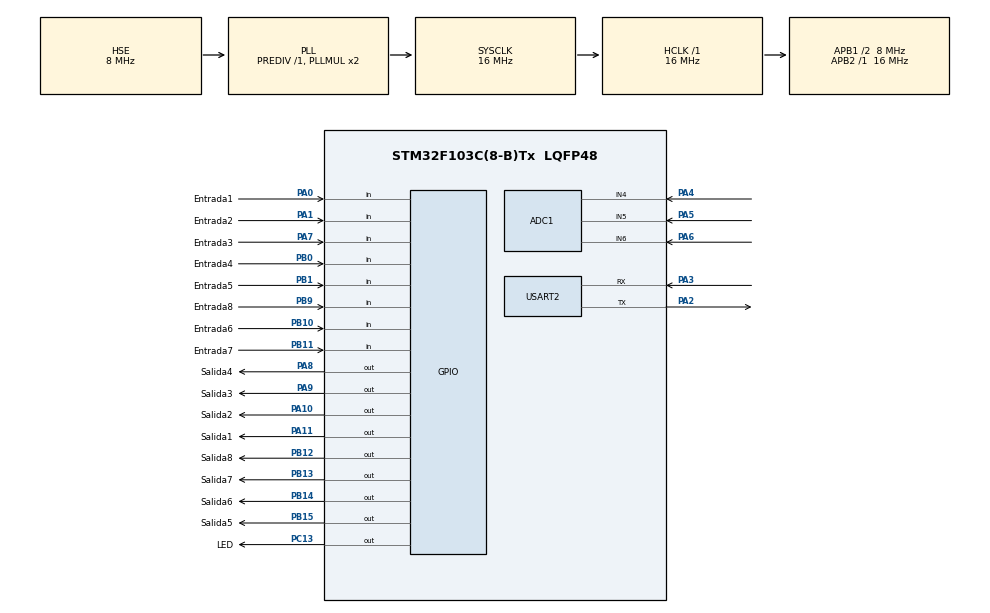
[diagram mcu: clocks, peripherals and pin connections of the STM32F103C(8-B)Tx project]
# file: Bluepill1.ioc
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ADC1.Channel-3\#ChannelRegularConversion=ADC_CHANNEL_4
ADC1.Channel-4\#ChannelRegularConversion=ADC_CHANNEL_4
ADC1.Channel-5\#ChannelRegularConversion=ADC_CHANNEL_4
ADC1.ContinuousConvMode=ENABLE
ADC1.NbrOfConversion=3
ADC1.NbrOfConversionFlag=1
ADC1.Rank-3\#ChannelRegularConversion=1
ADC1.Rank-4\#ChannelRegularConversion=2
ADC1.Rank-5\#ChannelRegularConversion=3
ADC1.SamplingTime-3\#ChannelRegularConversion=ADC_SAMPLETIME_28CYCLES_5
ADC1.SamplingTime-4\#ChannelRegularConversion=ADC_SAMPLETIME_71CYCLES_5
ADC1.SamplingTime-5\#ChannelRegularConversion=ADC_SAMPLETIME_239CYCLES_5
ADC1.master=1
Mcu.Family=STM32F1
Mcu.Name=STM32F103C(8-B)Tx
Mcu.Package=LQFP48
NVIC.PriorityGroup=NVIC_PRIORITYGROUP_4
NVIC.USART2_IRQn=true\:0\:0\:false\:false\:true\:true\:true\:true
PA0-WKUP.GPIO_Label=Entrada1
PA0-WKUP.GPIO_PuPd=GPIO_PULLDOWN
PA0-WKUP.Signal=GPIO_Input
PA1.GPIO_Label=Entrada2
PA1.GPIO_PuPd=GPIO_PULLDOWN
PA1.Signal=GPIO_Input
PA10.GPIO_Label=Salida2
PA10.GPIO_PuPd=GPIO_PULLDOWN
PA10.Signal=GPIO_Output
PA11.GPIO_Label=Salida1
PA11.GPIO_PuPd=GPIO_PULLDOWN
PA11.Signal=GPIO_Output
PA13.Mode=Serial_Wire
PA13.Signal=SYS_JTMS-SWDIO
PA14.Mode=Serial_Wire
PA14.Signal=SYS_JTCK-SWCLK
PA2.Mode=Asynchronous
PA2.Signal=USART2_TX
PA3.Mode=Asynchronous
PA3.Signal=USART2_RX
PA4.Signal=ADCx_IN4
PA5.Signal=ADCx_IN5
PA6.Signal=ADCx_IN6
PA7.GPIO_Label=Entrada3
PA7.GPIO_PuPd=GPIO_PULLDOWN
PA7.Signal=GPIO_Input
PA8.GPIO_Label=Salida4
PA8.GPIO_PuPd=GPIO_PULLDOWN
PA8.Signal=GPIO_Output
PA9.GPIO_Label=Salida3
PA9.GPIO_PuPd=GPIO_PULLDOWN
PA9.Signal=GPIO_Output
PB0.GPIO_Label=Entrada4
PB0.GPIO_PuPd=GPIO_PULLDOWN
PB0.Signal=GPIO_Input
PB1.GPIO_Label=Entrada5
PB1.GPIO_PuPd=GPIO_PULLDOWN
PB1.Signal=GPIO_Input
PB10.GPIO_Label=Entrada6
PB10.GPIO_PuPd=GPIO_PULLDOWN
PB10.Signal=GPIO_Input
PB11.GPIO_Label=Entrada7
PB11.GPIO_PuPd=GPIO_PULLDOWN
PB11.Signal=GPIO_Input
PB12.GPIO_Label=Salida8
PB12.GPIO_PuPd=GPIO_PULLDOWN
PB12.Signal=GPIO_Output
PB13.GPIO_Label=Salida7
PB13.GPIO_PuPd=GPIO_PULLDOWN
PB13.Signal=GPIO_Output
PB14.GPIO_Label=Salida6
PB14.GPIO_PuPd=GPIO_PULLDOWN
PB14.Signal=GPIO_Output
PB15.GPIO_Label=Salida5
PB15.GPIO_PuPd=GPIO_PULLDOWN
PB15.Signal=GPIO_Output
PB9.GPIO_Label=Entrada8
PB9.GPIO_PuPd=GPIO_PULLDOWN
PB9.Signal=GPIO_Input
PC13-TAMPER-RTC.GPIO_Label=LED
PC13-TAMPER-RTC.GPIO_PuPd=GPIO_PULLDOWN
PC13-TAMPER-RTC.Signal=GPIO_Output
PD0-OSC_IN.Mode=HSE-External-Oscillator
PD0-OSC_IN.Signal=RCC_OSC_IN
PD1-OSC_OUT.Mode=HSE-External-Oscillator
PD1-OSC_OUT.Signal=RCC_OSC_OUT
ProjectManager.HeapSize=0x200
ProjectManager.StackSize=0x400
ProjectManager.TargetToolchain=STM32CubeIDE
RCC.AHBFreq_Value=16000000
RCC.APB1CLKDivider=RCC_HCLK_DIV2
RCC.APB1Freq_Value=8000000
RCC.APB1TimFreq_Value=16000000
RCC.APB2Freq_Value=16000000
RCC.APB2TimFreq_Value=16000000
RCC.HCLKFreq_Value=16000000
RCC.PLLSourceVirtual=RCC_PLLSOURCE_HSE
RCC.SYSCLKFreq_VALUE=16000000
RCC.SYSCLKSource=RCC_SYSCLKSOURCE_PLLCLK
RCC.USBFreq_Value=16000000
SH.ADCx_IN4.0=ADC1_IN4,IN4
SH.ADCx_IN5.0=ADC1_IN5,IN5
SH.ADCx_IN6.0=ADC1_IN6,IN6
USART2.VirtualMode=VM_ASYNC
board=custom

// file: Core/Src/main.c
/* USER CODE BEGIN Header */
/**
  ******************************************************************************
  * @file           : main.c
  * @brief          : Main program body
  ******************************************************************************
  * @attention
  *
  * Copyright (c) 2022 STMicroelectronics.
  * All rights reserved.
  *
  * This software is licensed under terms that can be found in the LICENSE file
  * in the root directory of this software component.
  * If no LICENSE file comes with this software, it is provided AS-IS.
  *
  ******************************************************************************
  */
/* USER CODE END Header */
#include "main.h"

/* USER CODE BEGIN Includes */
#include <stdio.h>
#include <string.h>
#include <stdlib.h>
/* USER CODE END Includes */

/* USER CODE BEGIN PD */
#define NUM_ADC 3
/* USER CODE END PD */

 ADC_HandleTypeDef hadc1;

UART_HandleTypeDef huart2;

void SystemClock_Config(void);
static void MX_GPIO_Init(void);
static void MX_USART2_UART_Init(void);
static void MX_ADC1_Init(void);

/* USER CODE BEGIN 0 */

void ADC_Select_CH4(void){
	/** Configure Regular Channel
	  */
	  ADC_ChannelConfTypeDef sConfig = {0};
	  sConfig.Channel = ADC_CHANNEL_4;
	  sConfig.Rank = ADC_REGULAR_RANK_1;
	  sConfig.SamplingTime = ADC_SAMPLETIME_28CYCLES_5;
	  if (HAL_ADC_ConfigChannel(&hadc1, &sConfig) != HAL_OK)
	  {
	    Error_Handler();
	  }

}
void ADC_Select_CH5(void){
	/** Configure Regular Channel
		  */
		  ADC_ChannelConfTypeDef sConfig = {0};
		  sConfig.Channel = ADC_CHANNEL_5;
		  sConfig.Rank = ADC_REGULAR_RANK_1;
		  sConfig.SamplingTime = ADC_SAMPLETIME_71CYCLES_5;
		  if (HAL_ADC_ConfigChannel(&hadc1, &sConfig) != HAL_OK)
		  {
		    Error_Handler();
		  }

}

void ADC_Select_CH6(void){
	/** Configure Regular Channel
			  */
			  ADC_ChannelConfTypeDef sConfig = {0};
			  sConfig.Channel = ADC_CHANNEL_6;
			  sConfig.Rank = ADC_REGULAR_RANK_1;
			  sConfig.SamplingTime = ADC_SAMPLETIME_239CYCLES_5;
			  if (HAL_ADC_ConfigChannel(&hadc1, &sConfig) != HAL_OK)
			  {
			    Error_Handler();
			  }
}

	 uint16_t ADCValue[3];
/* USER CODE END 0 */

int main(void)
{
  /* USER CODE BEGIN 1 */
		//volatile uint32_t ADCValue[];
	 uint8_t charValue[50];
	 uint8_t inDig[8];
	 uint8_t dataRec[8]={};
	 int flag;
	 int dato[9]={};
	 float temperatura;

  /* USER CODE END 1 */

  /* MCU Configuration--------------------------------------------------------*/

  /* Reset of all peripherals, Initializes the Flash interface and the Systick. */
  HAL_Init();

  /* Configure the system clock */
  SystemClock_Config();

  /* Initialize all configured peripherals */
  MX_GPIO_Init();
  MX_USART2_UART_Init();
  MX_ADC1_Init();

  /* Infinite loop */
  /* USER CODE BEGIN WHILE */

  while (1)
  {

	  // LECTURA PUERTO SERIE: Los datos estan guardados como ASCII, el programa no avanza hasta que se reciben datos

	  HAL_UART_Receive_IT(&huart2, (uint16_t*)dataRec, sizeof(dataRec));

	  	dato[0] = (int)(dataRec[0]);
	  	dato[1] = (int)(dataRec[1]);
	  	dato[2] = (int)(dataRec[2]);
	  	dato[3] = (int)(dataRec[3]);
	  	dato[4] = (int)(dataRec[4]);
	  	dato[5] = (int)(dataRec[5]);
	  	dato[6] = (int)(dataRec[6]);
	  	dato[7] = (int)(dataRec[7]);

	  	//DEFINICION DEL ESTADO DE LAS SALIDAS

	  			if(dato[0]==49){
	  		HAL_GPIO_WritePin(GPIOA, GPIO_PIN_11, GPIO_PIN_SET);
	  	}else{HAL_GPIO_WritePin(GPIOA, GPIO_PIN_11, GPIO_PIN_RESET);}

	  		  	if(dato[1]==49){
	  		HAL_GPIO_WritePin(GPIOA, GPIO_PIN_10, GPIO_PIN_SET);
	  	}else{HAL_GPIO_WritePin(GPIOA, GPIO_PIN_10, GPIO_PIN_RESET);}

	  		  	if(dato[2]==49){
	  		HAL_GPIO_WritePin(GPIOA, GPIO_PIN_9, GPIO_PIN_SET);
	  	}else{HAL_GPIO_WritePin(GPIOA, GPIO_PIN_9, GPIO_PIN_RESET);}

	  		  	if(dato[3]==49){
	  		  		for(int i=0; i<10; i++){
	  		HAL_GPIO_WritePin(GPIOA, GPIO_PIN_8, GPIO_PIN_SET);
	  		HAL_Delay(100);
	  		HAL_GPIO_WritePin(GPIOA, GPIO_PIN_8, GPIO_PIN_RESET);}}

	  		  	if(dato[4]==49){
	  		HAL_GPIO_WritePin(GPIOB, GPIO_PIN_15, GPIO_PIN_SET);
	  	}else{HAL_GPIO_WritePin(GPIOB, GPIO_PIN_15, GPIO_PIN_RESET);}

	  		  	if(dato[5]==49){
	  		HAL_GPIO_WritePin(GPIOB, GPIO_PIN_14, GPIO_PIN_SET);
	  	}else{HAL_GPIO_WritePin(GPIOB, GPIO_PIN_14, GPIO_PIN_RESET);}

	  		  	if(dato[6]==49){
	  		HAL_GPIO_WritePin(GPIOB, GPIO_PIN_13, GPIO_PIN_SET);
	  	}else{HAL_GPIO_WritePin(GPIOB, GPIO_PIN_13, GPIO_PIN_RESET);}

	  		  	if(dato[7]==49){
	  		HAL_GPIO_WritePin(GPIOB, GPIO_PIN_12, GPIO_PIN_SET);
	  	}else{HAL_GPIO_WritePin(GPIOB, GPIO_PIN_12, GPIO_PIN_RESET);}

	 	//ETAPA LECTURA DE ENTRADAS DIGITALES//
	  	if(HAL_GPIO_ReadPin(GPIOA, GPIO_PIN_0)){inDig[0] = 1;}
	  	 else{inDig[0] = 0;}

	  	if(HAL_GPIO_ReadPin(GPIOA, GPIO_PIN_1)){inDig[1] = 1;}
	  	 else{inDig[1] = 0; }

	  	if(HAL_GPIO_ReadPin(GPIOA, GPIO_PIN_7)){inDig[2] = 1;}
	  	 else{inDig[2] = 0;}

	  	if(HAL_GPIO_ReadPin(GPIOB, GPIO_PIN_0)){inDig[3] = 1;}
	  	 else{inDig[3] = 0;}

	  	if(HAL_GPIO_ReadPin(GPIOB, GPIO_PIN_1)){inDig[4] = 1;}
	  	 else{inDig[4] = 0;}

	  	if(HAL_GPIO_ReadPin(GPIOB, GPIO_PIN_10)){inDig[5] = 1;}
	  	 else{inDig[5] = 0;}

	  	if(HAL_GPIO_ReadPin(GPIOB, GPIO_PIN_11)){inDig[6] = 1;}
	  	 else{inDig[6] = 0;}

	  	if(HAL_GPIO_ReadPin(GPIOB, GPIO_PIN_9)){inDig[7] = 1;}
	  	 else{inDig[7] = 0;}

	  	//ETAPA MANEJO DE ADC

	  	//CANAL 4
	  	ADC_Select_CH4();
	  	HAL_ADC_Start(&hadc1);
	  	HAL_ADC_PollForConversion(&hadc1, 1000);
	  	ADCValue[0]= HAL_ADC_GetValue(&hadc1);
	  	HAL_ADC_Stop(&hadc1);
	  	//CANAL 5
	  	ADC_Select_CH5();
	  	HAL_ADC_Start(&hadc1);
	  	HAL_ADC_PollForConversion(&hadc1, 1000);
	  	ADCValue[1]= HAL_ADC_GetValue(&hadc1);
	  	HAL_ADC_Stop(&hadc1);
	  	//CANAL 6
	 	ADC_Select_CH6();
	  	HAL_ADC_Start(&hadc1);
	  	HAL_ADC_PollForConversion(&hadc1, 1000);
	  	ADCValue[2]= HAL_ADC_GetValue(&hadc1);
	  	HAL_ADC_Stop(&hadc1);

	  	  // ETAPA TRANSMISION VIA UART

	  	temperatura = ADCValue[0]/12.41;

	  /*	if(temperatura>20){
	  		flag=1;
	  		HAL_GPIO_WritePin(GPIOA, GPIO_PIN_8, GPIO_PIN_RESET);
	  	} else
	  	{
	  		HAL_GPIO_WritePin(GPIOA, GPIO_PIN_8, GPIO_PIN_SET);
	  	}
*/
	  sprintf(charValue, "%lu,%lu,%lu,%lu,%lu,%lu,%lu,%lu,%lu,%lu,%lu,2\n",ADCValue[0],ADCValue[1],ADCValue[2], inDig[0],inDig[1],inDig[2],inDig[3],inDig[4],inDig[5],inDig[6],inDig[7]);

	      HAL_UART_Transmit(&huart2, (uint8_t*)charValue, strlen(charValue),HAL_MAX_DELAY);
	      	 HAL_Delay(1000);

  }
    /* USER CODE END WHILE */

}

void SystemClock_Config(void)
{
  RCC_OscInitTypeDef RCC_OscInitStruct = {0};
  RCC_ClkInitTypeDef RCC_ClkInitStruct = {0};
  RCC_PeriphCLKInitTypeDef PeriphClkInit = {0};

  /** Initializes the RCC Oscillators according to the specified parameters
  * in the RCC_OscInitTypeDef structure.
  */
  RCC_OscInitStruct.OscillatorType = RCC_OSCILLATORTYPE_HSE;
  RCC_OscInitStruct.HSEState = RCC_HSE_ON;
  RCC_OscInitStruct.HSEPredivValue = RCC_HSE_PREDIV_DIV1;
  RCC_OscInitStruct.HSIState = RCC_HSI_ON;
  RCC_OscInitStruct.PLL.PLLState = RCC_PLL_ON;
  RCC_OscInitStruct.PLL.PLLSource = RCC_PLLSOURCE_HSE;
  RCC_OscInitStruct.PLL.PLLMUL = RCC_PLL_MUL2;
  if (HAL_RCC_OscConfig(&RCC_OscInitStruct) != HAL_OK)
  {
    Error_Handler();
  }

  /** Initializes the CPU, AHB and APB buses clocks
  */
  RCC_ClkInitStruct.ClockType = RCC_CLOCKTYPE_HCLK|RCC_CLOCKTYPE_SYSCLK
                              |RCC_CLOCKTYPE_PCLK1|RCC_CLOCKTYPE_PCLK2;
  RCC_ClkInitStruct.SYSCLKSource = RCC_SYSCLKSOURCE_PLLCLK;
  RCC_ClkInitStruct.AHBCLKDivider = RCC_SYSCLK_DIV1;
  RCC_ClkInitStruct.APB1CLKDivider = RCC_HCLK_DIV2;
  RCC_ClkInitStruct.APB2CLKDivider = RCC_HCLK_DIV1;

  if (HAL_RCC_ClockConfig(&RCC_ClkInitStruct, FLASH_LATENCY_0) != HAL_OK)
  {
    Error_Handler();
  }
  PeriphClkInit.PeriphClockSelection = RCC_PERIPHCLK_ADC;
  PeriphClkInit.AdcClockSelection = RCC_ADCPCLK2_DIV2;
  if (HAL_RCCEx_PeriphCLKConfig(&PeriphClkInit) != HAL_OK)
  {
    Error_Handler();
  }
}

static void MX_ADC1_Init(void)
{

  ADC_ChannelConfTypeDef sConfig = {0};

  /** Common config
  */
  hadc1.Instance = ADC1;
  hadc1.Init.ScanConvMode = ADC_SCAN_ENABLE;
  hadc1.Init.ContinuousConvMode = ENABLE;
  hadc1.Init.DiscontinuousConvMode = DISABLE;
  hadc1.Init.ExternalTrigConv = ADC_SOFTWARE_START;
  hadc1.Init.DataAlign = ADC_DATAALIGN_RIGHT;
  hadc1.Init.NbrOfConversion = 1;
  if (HAL_ADC_Init(&hadc1) != HAL_OK)
  {
    Error_Handler();
  }

  /** Configure Regular Channel
  */
//  sConfig.Channel = ADC_CHANNEL_4;
//  sConfig.Rank = ADC_REGULAR_RANK_1;
//  sConfig.SamplingTime = ADC_SAMPLETIME_28CYCLES_5;
//  if (HAL_ADC_ConfigChannel(&hadc1, &sConfig) != HAL_OK)
//  {
//    Error_Handler();
//  }
//
//  /** Configure Regular Channel
//  */
//  sConfig.Rank = ADC_REGULAR_RANK_2;
//  sConfig.SamplingTime = ADC_SAMPLETIME_71CYCLES_5;
//  if (HAL_ADC_ConfigChannel(&hadc1, &sConfig) != HAL_OK)
//  {
//    Error_Handler();
//  }
//
//  /** Configure Regular Channel
//  */
//  sConfig.Rank = ADC_REGULAR_RANK_3;
//  sConfig.SamplingTime = ADC_SAMPLETIME_239CYCLES_5;
//  if (HAL_ADC_ConfigChannel(&hadc1, &sConfig) != HAL_OK)
//  {
//    Error_Handler();
//  }

}

static void MX_USART2_UART_Init(void)
{

  huart2.Instance = USART2;
  huart2.Init.BaudRate = 115200;
  huart2.Init.WordLength = UART_WORDLENGTH_8B;
  huart2.Init.StopBits = UART_STOPBITS_1;
  huart2.Init.Parity = UART_PARITY_NONE;
  huart2.Init.Mode = UART_MODE_TX_RX;
  huart2.Init.HwFlowCtl = UART_HWCONTROL_NONE;
  huart2.Init.OverSampling = UART_OVERSAMPLING_16;
  if (HAL_UART_Init(&huart2) != HAL_OK)
  {
    Error_Handler();
  }

}

static void MX_GPIO_Init(void)
{
  GPIO_InitTypeDef GPIO_InitStruct = {0};

  /* GPIO Ports Clock Enable */
  __HAL_RCC_GPIOC_CLK_ENABLE();
  __HAL_RCC_GPIOD_CLK_ENABLE();
  __HAL_RCC_GPIOA_CLK_ENABLE();
  __HAL_RCC_GPIOB_CLK_ENABLE();

  /*Configure GPIO pin Output Level */
  HAL_GPIO_WritePin(LED_GPIO_Port, LED_Pin, GPIO_PIN_RESET);

  /*Configure GPIO pin Output Level */
  HAL_GPIO_WritePin(GPIOB, Salida8_Pin|Salida7_Pin|Salida6_Pin|Salida5_Pin, GPIO_PIN_RESET);

  /*Configure GPIO pin Output Level */
  HAL_GPIO_WritePin(GPIOA, Salida4_Pin|Salida3_Pin|Salida2_Pin|Salida1_Pin, GPIO_PIN_RESET);

  /*Configure GPIO pin : LED_Pin */
  GPIO_InitStruct.Pin = LED_Pin;
  GPIO_InitStruct.Mode = GPIO_MODE_OUTPUT_PP;
  GPIO_InitStruct.Pull = GPIO_PULLDOWN;
  GPIO_InitStruct.Speed = GPIO_SPEED_FREQ_LOW;
  HAL_GPIO_Init(LED_GPIO_Port, &GPIO_InitStruct);

  /*Configure GPIO pins : Entrada1_Pin Entrada2_Pin Entrada3_Pin */
  GPIO_InitStruct.Pin = Entrada1_Pin|Entrada2_Pin|Entrada3_Pin;
  GPIO_InitStruct.Mode = GPIO_MODE_INPUT;
  GPIO_InitStruct.Pull = GPIO_PULLDOWN;
  HAL_GPIO_Init(GPIOA, &GPIO_InitStruct);

  /*Configure GPIO pins : Entrada4_Pin Entrada5_Pin Entrada6_Pin Entrada7_Pin
                           Entrada8_Pin */
  GPIO_InitStruct.Pin = Entrada4_Pin|Entrada5_Pin|Entrada6_Pin|Entrada7_Pin
                          |Entrada8_Pin;
  GPIO_InitStruct.Mode = GPIO_MODE_INPUT;
  GPIO_InitStruct.Pull = GPIO_PULLDOWN;
  HAL_GPIO_Init(GPIOB, &GPIO_InitStruct);

  /*Configure GPIO pins : Salida8_Pin Salida7_Pin Salida6_Pin Salida5_Pin */
  GPIO_InitStruct.Pin = Salida8_Pin|Salida7_Pin|Salida6_Pin|Salida5_Pin;
  GPIO_InitStruct.Mode = GPIO_MODE_OUTPUT_PP;
  GPIO_InitStruct.Pull = GPIO_PULLDOWN;
  GPIO_InitStruct.Speed = GPIO_SPEED_FREQ_LOW;
  HAL_GPIO_Init(GPIOB, &GPIO_InitStruct);

  /*Configure GPIO pins : Salida4_Pin Salida3_Pin Salida2_Pin Salida1_Pin */
  GPIO_InitStruct.Pin = Salida4_Pin|Salida3_Pin|Salida2_Pin|Salida1_Pin;
  GPIO_InitStruct.Mode = GPIO_MODE_OUTPUT_PP;
  GPIO_InitStruct.Pull = GPIO_PULLDOWN;
  GPIO_InitStruct.Speed = GPIO_SPEED_FREQ_LOW;
  HAL_GPIO_Init(GPIOA, &GPIO_InitStruct);

}

void Error_Handler(void)
{
  __disable_irq();
  while (1)
  {
  }
}
